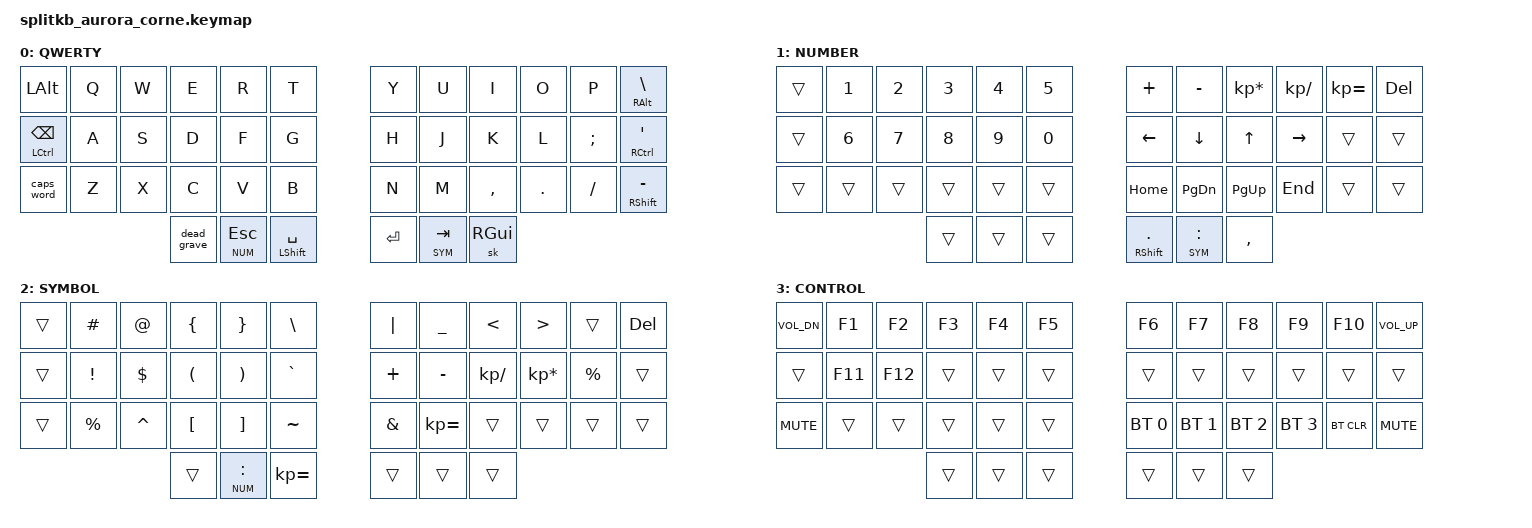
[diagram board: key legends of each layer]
#include <behaviors.dtsi>
#include <dt-bindings/zmk/keys.h>
#include <dt-bindings/zmk/bt.h>

#define QWE 0
#define NUM 1
#define SYM 2
#define CTL 3
/ {
  chosen {
    zmk,matrix_transform = &default_transform;
    //zmk,matrix_transform = &five_column_transform;
  };
};

/ {
        macros {
            dead_grave: dead_grave {
                compatible = "zmk,behavior-macro";
                #binding-cells = <0>;
                bindings = <&macro_press &kp RALT>, <&macro_tap &kp GRAVE>, <&macro_release &kp RALT>;
            };
        };
        behaviors {
            gqt: global-quick-tap {
                compatible = "zmk,behavior-hold-tap";
                label = "GLOBAL_QUICK_TAP";
                #binding-cells = <2>;
                flavor = "tap-preferred";
                tapping-term-ms = <200>;
                quick-tap-ms = <150>;
                global-quick-tap;
                bindings= <&kp>, <&kp>;
            };
            bht: balanced-hold-tap {
                compatible = "zmk,behavior-hold-tap";
                #binding-cells = <2>;
                flavor = "balanced";
                tapping-term-ms = <200>;
                quick-tap-ms = <150>;
                require-prior-idle-ms = <125>;
                bindings = <&kp>, <&kp>;
            };
            hpt: hold-preferred-tap {
                compatible = "zmk,behavior-hold-tap";
                #binding-cells = <2>;
                flavor = "hold-preferred";
                tapping-term-ms = <200>;
                quick-tap-ms = <250>;
                bindings = <&kp>, <&kp>;
            };
        };
        combos {
            compatible = "zmk,combos";
            combo_tmux {
                timeout-ms = <50>;
                key-positions = <12 38>;
                bindings = <&kp LC(SPACE)>;
            };
            combo_minus {
                timeout-ms = <35>;
                key-positions = <16 19>;
                bindings = <&kp MINUS>;
            };
            combo_under {
                timeout-ms = <35>;
                key-positions = <15 20>;
                bindings = <&kp UNDER>;
            };
            combo_slash {
                timeout-ms = <35>;
                key-positions = <14 21>;
                bindings = <&kp FSLH>;
            };
            combo_tilde {
                timeout-ms = <35>;
                key-positions = <13 22>;
                bindings = <&kp TILDE>;
            };
        };
        conditional_layers {
            compatible = "zmk,conditional-layers";
            control_layer {
                if-layers = <NUM SYM>;
                then-layer = <CTL>;
            };
        };
        keymap {
                compatible = "zmk,keymap";

                default_layer {
                        label = "QWERTY";
// -----------------------------------------------------------------------------------------
// |   Alt   |  Q  |  W  |  E  |  R  |  T  |   |  Y  |  U   |  I  |  O  |  P  | Alt/\   |
// | BS/CTRL |  A  |  S  |  D  |  F  |  G  |   |  H  |  J   |  K  |  L  |  ;  | CTRL/'  |
// |  CAPSW  |  Z  |  X  |  C  |  V  |  B  |   |  N  |  M   |  ,  |  .  |  /  | SHIFT/- |
// Cross-hand combos (35ms): F+J → -  D+K → _  S+L → /  A+; → ~
//                 |DEAD`| ESC/NUM |SPC/SFT|   | ENT |TAB/SYM| sGUI |
                        bindings = <
   &kp LALT &kp Q &kp W &kp E &kp R &kp T   &kp Y &kp U  &kp I     &kp O   &kp P    &gqt RALT BSLH
   &hpt LCTRL BSPC &kp A &kp S &kp D &kp F &kp G   &kp H &kp J  &kp K     &kp L   &kp SEMI &gqt RCTRL SINGLE_QUOTE
   &caps_word &kp Z &kp X &kp C &kp V &kp B   &kp N &kp M  &kp COMMA &kp DOT &kp FSLH &gqt RSHIFT MINUS
                 &dead_grave &lt NUM ESC &bht LSHIFT SPACE   &kp RET &lt SYM TAB &sk RGUI
                        >;
                };
                lower_layer {
                        label = "NUMBER";
// -----------------------------------------------------------------------------------------
// |      |  1  |  2  |  3  |  4  |  5  |   |  +  |  -  |  *  |  /  |  =  |  DEL  |
// |      |  6  |  7  |  8  |  9  |  0  |   | Left|Down |  Up |Right|     |       |
// |      |     |     |     |     |     |   |HOME |PGDN |PGUP | END |     |       |
//                    |     |     |     |   |./SFT|  :  |  ,  |
                        bindings = <
   &trans &kp N1 &kp N2 &kp N3 &kp N4 &kp N5     &kp PLUS &kp MINUS &kp KP_MULTIPLY &kp KP_DIVIDE &kp KP_EQUAL &kp DEL
   &trans &kp N6 &kp N7 &kp N8 &kp N9 &kp N0     &kp LEFT &kp DOWN &kp UP &kp RIGHT &trans &trans
   &trans &trans &trans &trans &trans &trans      &kp HOME &kp PG_DN &kp PG_UP &kp END &trans &trans
                              &trans &trans &trans     &gqt RSHIFT DOT &lt SYM COLON &kp COMMA
                        >;
                };

                raise_layer {
                        label = "SYMBOL";
// -----------------------------------------------------------------------------------------
// |      |  #  |  @  |  {  |  }  |  \  |   |  |  |  _  |  <  |  >  |     |  DEL |
// |      |  !  |  $  |  (  |  )  |  `  |   |  +  |  -  |  /  |  *  |  %  |      |
// |      |  %  |  ^  |  [  |  ]  |  ~  |   |  &  |  =  |  ,  |  .  |  /  |SHFT/-|
//                    |     |  :  |  =  |   |     |     |     |
                        bindings = <
   &trans &kp HASH &kp AT &kp LBRC &kp RBRC &kp BSLH           &kp PIPE &kp UNDER &kp LT &kp GT &trans &kp DEL
   &trans &kp EXCL &kp DLLR &kp LPAR &kp RPAR &kp GRAVE        &kp PLUS &kp MINUS &kp KP_DIVIDE &kp KP_MULTIPLY &kp PERCENT &trans
   &trans &kp PERCENT &kp CARET &kp LBKT &kp RBKT &kp TILDE    &kp AMPS &kp KP_EQUAL &trans &trans &trans &trans
                        &trans &lt NUM COLON &kp KP_EQUAL             &trans &trans &trans
                        >;
                };

                control_layer {
                        label = "CONTROL";
// -----------------------------------------------------------------------------------------
// | VOL- |  F1 |  F2 |  F3 |  F4 |  F5 |   |  F6 |  F7 |  F8 |  F9 | F10 | VOL+  |
// |      | F11 | F12 |     |     |     |   |     |     |     |     |     |       |
// | MUTE |     |     |     |     |     |   | BT1 | BT2 | BT3 | BT4 |BTCLR| MUTE  |
//                    |     |     |     |   |     |     |     |
                        bindings = <
   &kp C_VOL_DN &kp F1 &kp F2 &kp F3 &kp F4 &kp F5     &kp F6 &kp F7 &kp F8 &kp F9 &kp F10 &kp C_VOL_UP
   &trans &kp F11 &kp F12 &trans &trans &trans     &trans &trans &trans &trans &trans &trans
   &kp C_MUTE &trans &trans &trans &trans &trans      &bt BT_SEL 0 &bt BT_SEL 1 &bt BT_SEL 2 &bt BT_SEL 3 &bt BT_CLR &kp C_MUTE
                              &trans &trans &trans     &trans &trans &trans
                        >;
                };
        };
};
